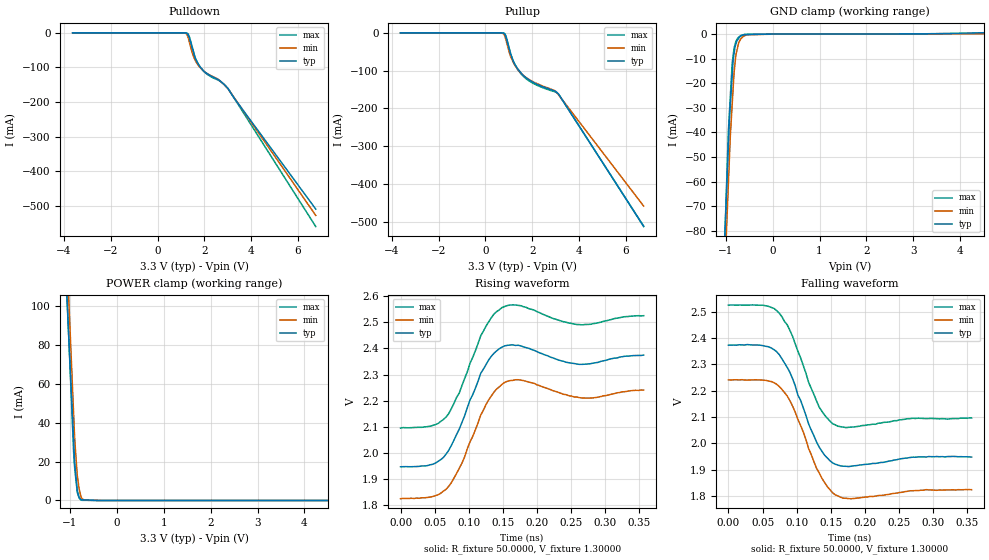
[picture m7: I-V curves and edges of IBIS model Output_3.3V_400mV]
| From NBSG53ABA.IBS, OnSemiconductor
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[Model] Output_3.3V_400mV
Model_type Output_ECL
Vref=1.30000V
Rref=50.0000ohms
Cref=0.00000pF
Vmeas=2.16000V
C_comp 500.0fF 500.0fF 500.0fF
[Model Spec]
Vmeas 2.16042   2.033365   2.31052
|Vref  1.30000V  1.1350V  1.4650V
|Rref  50ohms   50ohms   50ohms
|Cref  0.00pF   0.00pF   0.00pF
| variable typ   min   max
[Voltage Range]   3.30000V  3.13500V  3.46500V
[POWER Clamp Reference] 3.30000V  3.13500V  3.46500V
[Pullup Reference]   3.30000V  3.13500V  3.46500V
[Pulldown Reference]   3.30000V  3.13500V  3.46500V
[GND Clamp Reference]   0.00000V  0.00000V  0.00000V
[Temperature Range]  25   85   0
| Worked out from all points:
|   GND clamp passes 1 mA (typ) near -0.69 V on its own axis
|   POWER clamp passes 1 mA (typ) near -0.78 V on its own axis
|   falling waveform, R_fixture 50.0000, V_fixture 1.30000: 20-80 % time 38.3ps typ, 38ps min, 37.7ps max; typ from 2.37 V to 1.95 V
|   rising waveform, R_fixture 50.0000, V_fixture 1.30000: 20-80 % time 40.4ps typ, 41ps min, 39.7ps max; typ from 1.95 V to 2.37 V
[GND Clamp]
-3.3V     -1.415A    -1.34A     -1.377A
-1.023V   -84.87mA   -99.06mA   -85.41mA
-942mV    -45.21mA   -60.81mA   -39.4mA
-921.7mV  -35.26mA   -51.22mA   -32.53mA
-901.3mV  -29.04mA   -41.61mA   -25.64mA
-861.1mV  -16.75mA   -28.61mA   -12.03mA
-841mV    -10.61mA   -22.12mA   -8.898mA
-820.9mV  -7.934mA   -15.62mA   -5.756mA
-780.5mV  -4.005mA   -8.315mA   -2.949mA
-679.2mV  -888uA     -2.011mA   -648uA
61.72mV   -57.95uA   -46.75uA   -66uA
6.6V      1.235mA    57.49uA    37.43uA
[Pulldown]
-3.63V    66.49uA    12.87uA    62.26uA
1.116V    -23.74uA   -93.32uA   46.43uA
1.233V    -663.3uA   -2.716mA   -329.5uA
1.304V    -6.03mA    -12.91mA   -2.749mA
1.365V    -15.74mA   -27.74mA   -11.61mA
1.557V    -60.7mA    -71.55mA   -58.77mA
1.704V    -85.85mA   -90.04mA   -86.24mA
1.817V    -98.05mA   -99.75mA   -98.65mA
2.123V    -118.2mA   -117.7mA   -120mA
2.633V    -136.6mA   -136.4mA   -138.2mA
3.024V    -161.8mA   -162.7mA   -161.9mA
6.765V    -509.6mA   -527.9mA   -560.1mA
[Pullup]
-3.63V    77.71uA    31.48uA    50.99uA
659.5mV   -5.691uA   -128.2uA   25.95uA
801.8mV   -1.91mA    -5.505mA   -1.103mA
877.1mV   -10.92mA   -18.73mA   -8.249mA
1.079V    -56.65mA   -62.91mA   -55.39mA
1.261V    -83.66mA   -86.42mA   -83.92mA
1.418V    -98.1mA    -99.61mA   -100.4mA
1.58V     -110.7mA   -110.3mA   -112.7mA
1.999V    -129.8mA   -128.3mA   -132.3mA
2.96V     -154mA     -153.1mA   -156mA
3.117V    -161.8mA   -163.5mA   -162.1mA
6.765V    -513.4mA   -459.1mA   -512.2mA
[POWER Clamp]
-3.63V    1.426A     1.585A     1.567A
-1.08V    113.3mA    135.6mA    116.2mA
-1.039V   92.57mA    112.7mA    93.3mA
-1.019V   82.07mA    101.1mA    81.69mA
-918.1mV  30.15mA    43.76mA    24.31mA
-897.7mV  19.66mA    32.17mA    16.89mA
-842.2mV  5.343mA    12.9mA     4.263mA
-801.9mV  1.535mA    5.963mA    1.192mA
-761.4mV  377.7uA    1.801mA    215.5uA
-680.3mV  297.3uA    177.2uA    81.96uA
-380.7mV  0A         15.56uA    891nA
6.765V    0A         0A         0A
[Falling Waveform]
R_fixture = 50.0000
V_fixture = 1.30000
V_fixture_min = 1.13500
V_fixture_max = 1.46500
0s        2.373V     2.241V     2.526V
50.9ps    2.371V     2.24V      2.525V
74.5ps    2.338V     2.216V     2.495V
94.1ps    2.246V     2.142V     2.407V
117.6ps   2.074V     1.98V      2.232V
129.3ps   2.005V     1.905V     2.161V
152.9ps   1.926V     1.812V     2.074V
180.3ps   1.913V     1.79V      2.062V
270.5ps   1.948V     1.82V      2.096V
356.7ps   1.948V     1.824V     2.096V
[Rising Waveform]
R_fixture = 50.0000
V_fixture = 1.30000
V_fixture_min = 1.13500
V_fixture_max = 1.46500
0s        1.947V     1.825V     2.095V
47ps      1.957V     1.833V     2.105V
66.6ps    1.995V     1.861V     2.137V
90.1ps    2.117V     1.961V     2.258V
117.6ps   2.304V     2.145V     2.448V
137.2ps   2.382V     2.233V     2.532V
148.9ps   2.405V     2.263V     2.556V
176.4ps   2.41V      2.279V     2.563V
262.6ps   2.339V     2.212V     2.491V
356.7ps   2.374V     2.241V     2.525V
[Ramp]
| variable typ min max
dV/dt_r 256.264m/39.9757p 250.452m/40.7592p 260.269m/39.4386p
dV/dt_f 256.264m/37.8171p 250.452m/38.0812p 260.269m/37.4234p
R_load = 50.0000Ohms
